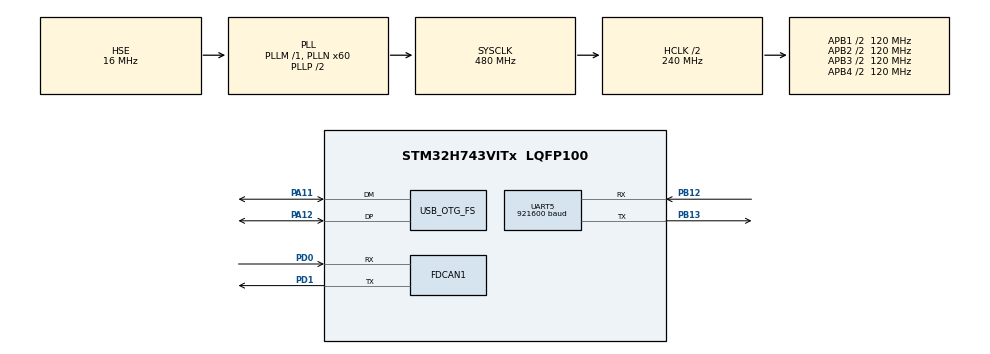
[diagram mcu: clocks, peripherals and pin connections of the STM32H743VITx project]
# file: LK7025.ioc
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CORTEX_M7.CPU_ICache=Enabled
CORTEX_M7.Enable_Spec=__NULL
CORTEX_M7.MPU_Control=__NULL
CORTEX_M7.default_mode_Activation=1
Dma.Request0=UART5_RX
Dma.UART5_RX.0.Direction=DMA_PERIPH_TO_MEMORY
Dma.UART5_RX.0.EventEnable=DISABLE
Dma.UART5_RX.0.FIFOMode=DMA_FIFOMODE_DISABLE
Dma.UART5_RX.0.Instance=DMA1_Stream0
Dma.UART5_RX.0.MemDataAlignment=DMA_MDATAALIGN_BYTE
Dma.UART5_RX.0.MemInc=DMA_MINC_ENABLE
Dma.UART5_RX.0.Mode=DMA_NORMAL
Dma.UART5_RX.0.PeriphDataAlignment=DMA_PDATAALIGN_BYTE
Dma.UART5_RX.0.PeriphInc=DMA_PINC_DISABLE
Dma.UART5_RX.0.Polarity=HAL_DMAMUX_REQ_GEN_RISING
Dma.UART5_RX.0.Priority=DMA_PRIORITY_LOW
Dma.UART5_RX.0.RequestNumber=1
Dma.UART5_RX.0.SignalID=NONE
Dma.UART5_RX.0.SyncEnable=DISABLE
Dma.UART5_RX.0.SyncPolarity=HAL_DMAMUX_SYNC_NO_EVENT
Dma.UART5_RX.0.SyncRequestNumber=1
Dma.UART5_RX.0.SyncSignalID=NONE
FDCAN1.AutoRetransmission=ENABLE
FDCAN1.CalculateBaudRateNominal=1000000
FDCAN1.CalculateTimeBitNominal=1000
FDCAN1.CalculateTimeQuantumNominal=50.0
FDCAN1.NominalPrescaler=6
FDCAN1.NominalTimeSeg1=15
FDCAN1.NominalTimeSeg2=4
FDCAN1.RxFifo0ElmtsNbr=16
FDCAN1.StdFiltersNbr=10
FDCAN1.TxBuffersNbr=16
FDCAN1.TxFifoQueueElmtsNbr=16
Mcu.Family=STM32H7
Mcu.Name=STM32H743VITx
Mcu.Package=LQFP100
NVIC.DMA1_Stream0_IRQn=true\:0\:0\:false\:false\:true\:false\:true\:true
NVIC.FDCAN1_IT0_IRQn=true\:1\:0\:true\:false\:true\:true\:true\:true
NVIC.OTG_FS_IRQn=true\:5\:0\:true\:false\:true\:false\:true\:true
NVIC.PriorityGroup=NVIC_PRIORITYGROUP_4
NVIC.TIM6_DAC_IRQn=true\:1\:0\:true\:false\:true\:true\:true\:true
NVIC.TIM7_IRQn=true\:8\:0\:true\:false\:true\:true\:true\:true
NVIC.UART5_IRQn=true\:5\:0\:true\:false\:true\:false\:true\:true
PA11.Mode=Device_Only
PA11.Signal=USB_OTG_FS_DM
PA12.Mode=Device_Only
PA12.Signal=USB_OTG_FS_DP
PA13\ (JTMS/SWDIO).Mode=Serial_Wire
PA13\ (JTMS/SWDIO).Signal=DEBUG_JTMS-SWDIO
PA14\ (JTCK/SWCLK).Mode=Serial_Wire
PA14\ (JTCK/SWCLK).Signal=DEBUG_JTCK-SWCLK
PB12.Mode=Asynchronous
PB12.Signal=UART5_RX
PB13.Mode=Asynchronous
PB13.Signal=UART5_TX
PD0.GPIO_Speed=GPIO_SPEED_FREQ_VERY_HIGH
PD0.Mode=FDCAN_Activate
PD0.Signal=FDCAN1_RX
PD1.GPIO_Speed=GPIO_SPEED_FREQ_VERY_HIGH
PD1.Mode=FDCAN_Activate
PD1.Signal=FDCAN1_TX
PH0-OSC_IN\ (PH0).Mode=HSE-External-Oscillator
PH0-OSC_IN\ (PH0).Signal=RCC_OSC_IN
PH1-OSC_OUT\ (PH1).Mode=HSE-External-Oscillator
PH1-OSC_OUT\ (PH1).Signal=RCC_OSC_OUT
ProjectManager.HeapSize=0x2000
ProjectManager.StackSize=0x4000
ProjectManager.TargetToolchain=MDK-ARM V5.32
RCC.ADCFreq_Value=32250000
RCC.APB1Freq_Value=120000000
RCC.APB2Freq_Value=120000000
RCC.APB3Freq_Value=120000000
RCC.APB4Freq_Value=120000000
RCC.CortexFreq_Value=480000000
RCC.D1PPRE=RCC_APB3_DIV2
RCC.D2PPRE1=RCC_APB1_DIV2
RCC.D2PPRE2=RCC_APB2_DIV2
RCC.D3PPRE=RCC_APB4_DIV2
RCC.DIVM1=1
RCC.DIVN1=60
RCC.DIVQ1=8
RCC.HCLKFreq_Value=240000000
RCC.HPRE=RCC_HCLK_DIV2
RCC.HSE_VALUE=16000000
RCC.PLLFRACN=0
RCC.PLLSourceVirtual=RCC_PLLSOURCE_HSE
RCC.SYSCLKFreq_VALUE=480000000
RCC.SYSCLKSource=RCC_SYSCLKSOURCE_PLLCLK
RCC.USBCLockSelection=RCC_USBCLKSOURCE_HSI48
RCC.USBFreq_Value=48000000
TIM6.AutoReloadPreload=TIM_AUTORELOAD_PRELOAD_ENABLE
TIM6.Period=999
TIM6.Prescaler=239
TIM7.AutoReloadPreload=TIM_AUTORELOAD_PRELOAD_ENABLE
TIM7.Period=999
TIM7.Prescaler=2399
UART5.BaudRate=921600
USB_DEVICE.CLASS_NAME_FS=CDC
USB_DEVICE.PRODUCT_STRING_CDC_FS=RPS_Radar
USB_DEVICE.USBD_LPM_ENABLED-CDC_FS=0
USB_DEVICE.VirtualMode-CDC_FS=Cdc
USB_DEVICE.VirtualModeFS=Cdc_FS
USB_OTG_FS.VirtualMode=Device_Only
VP_MEMORYMAP_VS_MEMORYMAP.Mode=CurAppReg
VP_TIM6_VS_ClockSourceINT.Mode=Enable_Timer
VP_TIM7_VS_ClockSourceINT.Mode=Enable_Timer
VP_USB_DEVICE_VS_USB_DEVICE_CDC_FS.Mode=CDC_FS
board=custom

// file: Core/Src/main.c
/* USER CODE BEGIN Header */
	/**
	  ******************************************************************************
	  * @file           : main.c
	  * @brief          : Main program body
	  ******************************************************************************
	  * @attention
	  *
	  * Copyright (c) 2026 STMicroelectronics.
	  * All rights reserved.
	  *
	  * This software is licensed under terms that can be found in the LICENSE file
	  * in the root directory of this software component.
	  * If no LICENSE file comes with this software, it is provided AS-IS.
	  *
	  ******************************************************************************
	  */
/* USER CODE END Header */
#include "main.h"
#include "dma.h"
#include "fdcan.h"
#include "tim.h"
#include "usart.h"
#include "usb_device.h"
#include "gpio.h"

/* USER CODE BEGIN Includes */
	#include "LK_Motor.h"
	#include "pid.h"
	#include "VOFA.h"
/* USER CODE END Includes */

/* USER CODE BEGIN PV */
	LK_M_t LK_M_Gimbal_Yaw;
	LK_M_t LK_M_Gimbal_Pitch;
	extern FDCAN_HandleTypeDef hfdcan1;
	extern TIM_HandleTypeDef htim6;
	extern TIM_HandleTypeDef htim7;
	extern UART_HandleTypeDef huart5;
	#define IMU_RX_BUF_SIZE 256            // DMA 接收缓冲区大小
	__attribute__((section(".data.ARM.__at_0x30000000"))) uint8_t imu_rx_buf[IMU_RX_BUF_SIZE] ;
	volatile uint32_t last_motor_rx_time = 0;
/* USER CODE END PV */

void SystemClock_Config(void);

/* USER CODE BEGIN 0 */

void Process_USB_Command(void)
{
    static char line_buf[64];
    static uint8_t line_idx = 0;

    // 当 FIFO 中有数据时
    while (usb_rx_fifo.tail != usb_rx_fifo.head)
    {
        // 读出一个字符
        char c = usb_rx_fifo.buffer[usb_rx_fifo.tail];
        usb_rx_fifo.tail = (usb_rx_fifo.tail + 1) % 512; // 512 是 USB_RX_BUF_SIZE

        // 判断是否是一帧的结束 (回车或换行)
        if (c == '\n' || c == '\r')
        {
            line_buf[line_idx] = '\0'; // 字符串封尾
            if (line_idx > 0)
            {
                float p_val = 0.0f, y_val = 0.0f;
                // 解析格式: "P:12.5,Y:45.0"
                if (sscanf(line_buf, "P:%f,Y:%f", &p_val, &y_val) == 2)
                {
                    // 赋值给目标结构体
                    Gimbal_Debug.Pitch_Target_Angle = p_val;
                    Gimbal_Debug.Yaw_Target_Angle = y_val;

                    Gimbal_Debug.Control_Mode = DEBUG_ANGLE_LOOP;
                }
            }
            line_idx = 0; // 重置索引，准备接收下一帧
        }
        else
        {
            // 存入行缓冲区，防止溢出
            if (line_idx < sizeof(line_buf) - 1) {
                line_buf[line_idx++] = c;
            }
        }
    }
}
/* USER CODE END 0 */

int main(void)
{

  /* Enable the CPU Cache */

  /* Enable I-Cache---------------------------------------------------------*/
  SCB_EnableICache();

  /* MCU Configuration--------------------------------------------------------*/

  /* Reset of all peripherals, Initializes the Flash interface and the Systick. */
  HAL_Init();

  /* Configure the system clock */
  SystemClock_Config();

  /* USER CODE BEGIN SysInit */
HAL_PWREx_EnableUSBVoltageDetector();
  /* USER CODE END SysInit */

  /* Initialize all configured peripherals */
  MX_GPIO_Init();
  MX_DMA_Init();
  MX_USB_DEVICE_Init();
  MX_FDCAN1_Init();
  MX_TIM6_Init();
  MX_TIM7_Init();
  MX_UART5_Init();
  /* USER CODE BEGIN 2 */
	  HAL_FDCAN_ConfigGlobalFilter(&hfdcan1, FDCAN_ACCEPT_IN_RX_FIFO0, FDCAN_ACCEPT_IN_RX_FIFO0, FDCAN_REJECT_REMOTE, FDCAN_REJECT_REMOTE);

	if (HAL_FDCAN_Start(&hfdcan1) != HAL_OK)
	{
		Error_Handler();
	}
	if (HAL_FDCAN_ActivateNotification(&hfdcan1, FDCAN_IT_RX_FIFO0_NEW_MESSAGE, 0) != HAL_OK)
	{
		Error_Handler();
	}
	  Gimbal_Init();

	  LK_M_Power_On(&hfdcan1, 2); // 开启 Pitch ( ID=2)
	  LK_M_Power_On(&hfdcan1, 1); // 开启 Yaw   ( ID=1)
	  HAL_Delay(100);
	  LK_M_Close_Loop_Control_iq(&hfdcan1, 1, 0);
	  LK_M_Close_Loop_Control_iq(&hfdcan1, 2, 0);
	  HAL_Delay(10);
	  HAL_TIM_Base_Start_IT(&htim6);
	HiIMU_Init(&huart5,imu_rx_buf,IMU_RX_BUF_SIZE);
  /* USER CODE END 2 */

  /* Infinite loop */
  /* USER CODE BEGIN WHILE */
//	uint32_t last_probe_time = 0;
//	static uint8_t motor_was_offline = 1; // 记录电机的上下线状态
		while (1)
	  {
    /* USER CODE END WHILE */

    /* USER CODE BEGIN 3 */
		Process_USB_Command();
//        uint32_t current_time = HAL_GetTick();

        }
  /* USER CODE END 3 */
}

void SystemClock_Config(void)
{
  RCC_OscInitTypeDef RCC_OscInitStruct = {0};
  RCC_ClkInitTypeDef RCC_ClkInitStruct = {0};

  /** Supply configuration update enable
  */
  HAL_PWREx_ConfigSupply(PWR_LDO_SUPPLY);

  /** Configure the main internal regulator output voltage
  */
  __HAL_PWR_VOLTAGESCALING_CONFIG(PWR_REGULATOR_VOLTAGE_SCALE0);

  while(!__HAL_PWR_GET_FLAG(PWR_FLAG_VOSRDY)) {}

  /** Initializes the RCC Oscillators according to the specified parameters
  * in the RCC_OscInitTypeDef structure.
  */
  RCC_OscInitStruct.OscillatorType = RCC_OSCILLATORTYPE_HSI48|RCC_OSCILLATORTYPE_HSE;
  RCC_OscInitStruct.HSEState = RCC_HSE_ON;
  RCC_OscInitStruct.HSI48State = RCC_HSI48_ON;
  RCC_OscInitStruct.PLL.PLLState = RCC_PLL_ON;
  RCC_OscInitStruct.PLL.PLLSource = RCC_PLLSOURCE_HSE;
  RCC_OscInitStruct.PLL.PLLM = 1;
  RCC_OscInitStruct.PLL.PLLN = 60;
  RCC_OscInitStruct.PLL.PLLP = 2;
  RCC_OscInitStruct.PLL.PLLQ = 8;
  RCC_OscInitStruct.PLL.PLLR = 2;
  RCC_OscInitStruct.PLL.PLLRGE = RCC_PLL1VCIRANGE_3;
  RCC_OscInitStruct.PLL.PLLVCOSEL = RCC_PLL1VCOWIDE;
  RCC_OscInitStruct.PLL.PLLFRACN = 0;
  if (HAL_RCC_OscConfig(&RCC_OscInitStruct) != HAL_OK)
  {
    Error_Handler();
  }

  /** Initializes the CPU, AHB and APB buses clocks
  */
  RCC_ClkInitStruct.ClockType = RCC_CLOCKTYPE_HCLK|RCC_CLOCKTYPE_SYSCLK
                              |RCC_CLOCKTYPE_PCLK1|RCC_CLOCKTYPE_PCLK2
                              |RCC_CLOCKTYPE_D3PCLK1|RCC_CLOCKTYPE_D1PCLK1;
  RCC_ClkInitStruct.SYSCLKSource = RCC_SYSCLKSOURCE_PLLCLK;
  RCC_ClkInitStruct.SYSCLKDivider = RCC_SYSCLK_DIV1;
  RCC_ClkInitStruct.AHBCLKDivider = RCC_HCLK_DIV2;
  RCC_ClkInitStruct.APB3CLKDivider = RCC_APB3_DIV2;
  RCC_ClkInitStruct.APB1CLKDivider = RCC_APB1_DIV2;
  RCC_ClkInitStruct.APB2CLKDivider = RCC_APB2_DIV2;
  RCC_ClkInitStruct.APB4CLKDivider = RCC_APB4_DIV2;

  if (HAL_RCC_ClockConfig(&RCC_ClkInitStruct, FLASH_LATENCY_4) != HAL_OK)
  {
    Error_Handler();
  }
}

/* USER CODE BEGIN 4 */
void HAL_TIM_PeriodElapsedCallback(TIM_HandleTypeDef *htim)

{

if (htim->Instance == TIM6)

{

	static uint32_t flag_tim = 0;
//	if (HAL_GetTick() - last_motor_rx_time <= 500)
//        {

if(flag_tim%1 == 0)
{
float pitch_iq = Gimbal_Control_Loop(&Pitch_Motor, 2,(float)LK_M_Gimbal_Pitch.Encoder, LK_M_Gimbal_Pitch.LK_Speed);

float yaw_iq = Gimbal_Control_Loop(&Yaw_Motor, 1, (float)LK_M_Gimbal_Yaw.Encoder, LK_M_Gimbal_Yaw.LK_Speed);

if (HAL_FDCAN_GetTxFifoFreeLevel(&hfdcan1) > 0) {
                LK_M_Close_Loop_Control_iq(&hfdcan1, 2, pitch_iq);
            }
if (HAL_FDCAN_GetTxFifoFreeLevel(&hfdcan1) > 0) {
                LK_M_Close_Loop_Control_iq(&hfdcan1, 1, yaw_iq);
		}
}
//	if (HAL_FDCAN_GetTxFifoFreeLevel(&hfdcan1) > 0) {
//                LK_M_Close_Loop_Control_iq(&hfdcan1, 2, 0);
//            }
//if (HAL_FDCAN_GetTxFifoFreeLevel(&hfdcan1) > 0) {
//                LK_M_Close_Loop_Control_iq(&hfdcan1, 1, 0);
//	}
if(flag_tim%1000 == 0)
{
	LK_M_Power_On(&hfdcan1, 2); // 开启 Pitch ( ID=1)
	LK_M_Power_On(&hfdcan1, 1); // 开启 Yaw   ( ID=2)
}
flag_tim++;
}
}

/**

  * @brief  FDCAN FIFO0 接收回调函数

  * @note   当 FDCAN 的 FIFO0 收到新消息时，HAL 库调用这个函数

  * @param

  */

void HAL_FDCAN_RxFifo0Callback(FDCAN_HandleTypeDef *hfdcan, uint32_t RxFifo0ITs)

{

if((RxFifo0ITs & FDCAN_IT_RX_FIFO0_NEW_MESSAGE) != RESET)

{

FDCAN_RxHeaderTypeDef RxHeader;

uint8_t RxData[8];

if (HAL_FDCAN_GetRxMessage(hfdcan, FDCAN_RX_FIFO0, &RxHeader, RxData) == HAL_OK)

{

if (hfdcan->Instance == FDCAN1)

{
	last_motor_rx_time = HAL_GetTick();

LK_M_Data_Process(&RxHeader, RxData, 2, &LK_M_Gimbal_Pitch);

LK_M_Data_Process(&RxHeader, RxData, 1, &LK_M_Gimbal_Yaw);

}

}

}

}

void HAL_UARTEx_RxEventCallback(UART_HandleTypeDef *huart, uint16_t Size)
{
    if (huart->Instance == UART5)
    {

        HiIMU_RxIdleCallback(huart, Size);
    }
}

void HAL_UART_ErrorCallback(UART_HandleTypeDef *huart)
{
    if (huart->Instance == UART5)
    {

        __HAL_UART_CLEAR_FLAG(huart, UART_CLEAR_OREF | UART_CLEAR_NEF | UART_CLEAR_PEF | UART_CLEAR_FEF);

        HAL_UART_AbortReceive(huart);

        //重新启动下一次空闲中断 DMA 接收
        HAL_UARTEx_ReceiveToIdle_DMA(huart, imu_rx_buf, IMU_RX_BUF_SIZE);
		__HAL_DMA_DISABLE_IT(huart->hdmarx, DMA_IT_HT);
    }
}
/* USER CODE END 4 */

void Error_Handler(void)
{
	  __disable_irq();
	  while (1)
	  {
	  }
}
